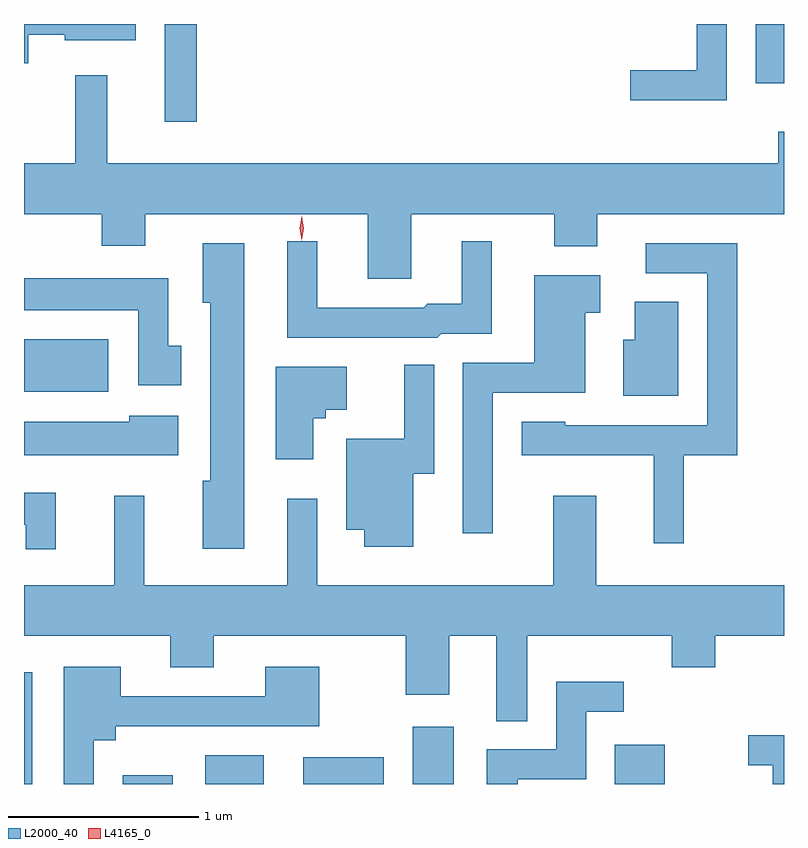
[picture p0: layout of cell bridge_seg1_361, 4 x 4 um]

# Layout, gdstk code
import gdstk
lib = gdstk.Library(unit=1e-6, precision=1e-09)
def R(c, l, rs):  # rectangles x0, y0, x1, y1
    for r in rs: c.add(gdstk.rectangle(r[:2], r[2:], *l))
def P(c, l, *ps):  # polygons
    for p in ps: c.add(gdstk.Polygon(p, *l))
L2000_40 = (2000, 40)
L4165_0 = (4165, 0)

bridge_seg1_361 = lib.new_cell('bridge_seg1_361')
R(bridge_seg1_361, L2000_40, [(837.791,865.497,837.834,866.084), (838.311,865.497,838.574,865.544), (838.746,865.497,839.054,865.649), (839.261,865.497,839.684,865.639), (839.836,865.497,840.054,865.799), (840.901,865.497,841.164,865.704), (837.791,867.561,838.234,867.839), (838.531,868.983,838.699,869.497), (841.641,869.186,841.791,869.497)])
P(bridge_seg1_361, L2000_40, [(837.814,869.441),(838.006,869.441),(838.006,869.411),(838.379,869.411),(838.379,869.497),(837.791,869.497),(837.791,869.291),(837.814,869.291)],
  [(841.489,869.497),(841.331,869.497),(841.331,869.254),(840.983,869.254),(840.983,869.096),(841.489,869.096)],
  [(839.829,868.496),(840.581,868.496),(840.581,868.326),(840.809,868.326),(840.809,868.496),(841.791,868.496),(841.791,868.929),(841.761,868.929),(841.761,868.764),(838.229,868.764),(838.229,869.228),(838.061,869.228),(838.061,868.764),(837.791,868.764),(837.791,868.496),(838.201,868.496),(838.201,868.331),(838.429,868.331),(838.429,868.496),(839.601,868.496),(839.601,868.156),(839.829,868.156)],
  [(839.987,867.866),(840.254,867.866),(840.254,868.353),(840.096,868.353),(840.096,868.024),(839.914,868.024),(839.894,868.004),(839.334,868.004),(839.334,868.353),(839.176,868.353),(839.176,867.846),(839.967,867.846)],
  [(841.264,867.226),(841.544,867.226),(841.544,868.344),(841.063,868.344),(841.063,868.186),(841.386,868.186),(841.386,867.384),(840.639,867.384),(840.639,867.404),(840.411,867.404),(840.411,867.226),(841.106,867.226),(841.106,866.763),(841.264,866.763)],
  [(838.949,868.344),(838.731,868.344),(838.731,868.031),(838.771,868.031),(838.771,867.094),(838.731,867.094),(838.731,866.736),(838.949,866.736)],
  [(840.259,867.556),(840.744,867.556),(840.744,867.976),(840.824,867.976),(840.824,868.174),(840.476,868.174),(840.476,867.714),(840.101,867.714),(840.101,866.818),(840.259,866.818)],
  [(838.619,867.804),(838.549,867.804),(838.549,868.159),(837.791,868.159),(837.791,867.991),(838.391,867.991),(838.391,867.596),(838.619,867.596)],
  [(841.234,868.034),(841.006,868.034),(841.006,867.834),(840.946,867.834),(840.946,867.541),(841.234,867.541)],
  [(839.839,867.131),(839.949,867.131),(839.949,867.703),(839.791,867.703),(839.791,867.314),(839.486,867.314),(839.486,866.836),(839.581,866.836),(839.581,866.746),(839.839,866.746)],
  [(839.314,867.421),(839.379,867.421),(839.379,867.466),(839.489,867.466),(839.489,867.694),(839.116,867.694),(839.116,867.206),(839.314,867.206)],
  [(838.604,867.434),(838.346,867.434),(838.346,867.404),(837.791,867.404),(837.791,867.226),(838.604,867.226)],
  [(837.959,867.029),(837.791,867.029),(837.791,866.861),(837.801,866.861),(837.801,866.733),(837.959,866.733)],
  [(840.439,866.276),(841.201,866.276),(841.201,866.111),(841.429,866.111),(841.429,866.276),(841.791,866.276),(841.791,866.544),(840.804,866.544),(840.804,867.014),(840.576,867.014),(840.576,866.544),(839.334,866.544),(839.334,866.998),(839.176,866.998),(839.176,866.544),(838.424,866.544),(838.424,867.013),(838.266,867.013),(838.266,866.544),(837.791,866.544),(837.791,866.276),(838.561,866.276),(838.561,866.111),(838.789,866.111),(838.789,866.276),(839.801,866.276),(839.801,865.966),(840.029,865.966),(840.029,866.276),(840.276,866.276),(840.276,865.828),(840.439,865.828)],
  [(838.159,865.726),(838.274,865.726),(838.274,865.801),(839.344,865.801),(839.344,866.114),(839.061,866.114),(839.061,865.959),(838.299,865.959),(838.299,866.114),(838.001,866.114),(838.001,865.497),(838.159,865.497)],
  [(840.389,865.521),(840.749,865.521),(840.749,865.876),(840.948,865.876),(840.948,866.034),(840.591,866.034),(840.591,865.679),(840.226,865.679),(840.226,865.497),(840.389,865.497)],
  [(841.791,865.754),(841.603,865.754),(841.603,865.596),(841.731,865.596),(841.731,865.497),(841.791,865.497)])
P(bridge_seg1_361, L4165_0, [(839.253,868.358),(839.253,868.358),(839.243,868.422),(839.252,868.486),(839.252,868.487),(839.253,868.486),(839.263,868.422),(839.254,868.358)])

lib.write_gds('bridge_seg1_361.gds')
